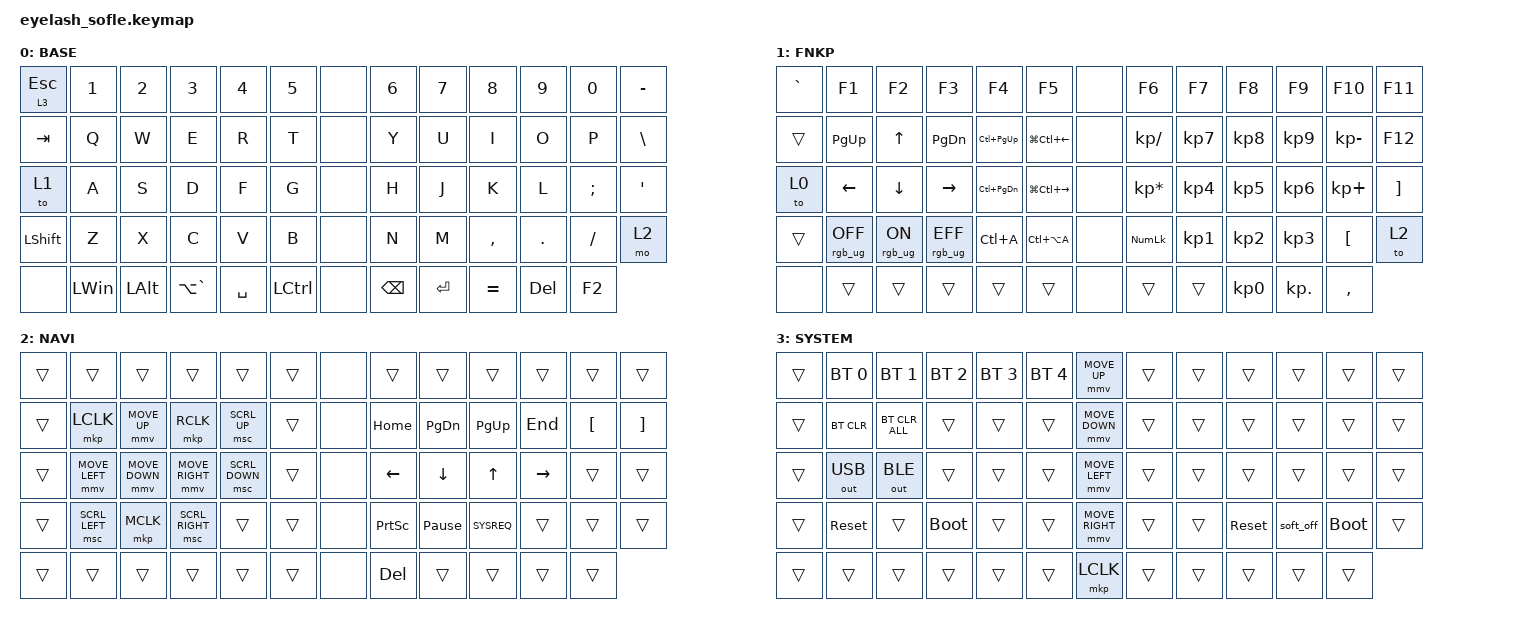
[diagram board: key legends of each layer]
#define ZMK_POINTING_DEFAULT_MOVE_VAL 1200  // 600
#define ZMK_POINTING_DEFAULT_SCRL_VAL 25   // 10

#include <input/processors.dtsi>
#include <zephyr/dt-bindings/input/input-event-codes.h>
#include <behaviors.dtsi>
#include <dt-bindings/zmk/bt.h>
#include <dt-bindings/zmk/keys.h>
#include <dt-bindings/zmk/outputs.h>
#include <dt-bindings/zmk/pointing.h>
#include <dt-bindings/zmk/rgb.h>

&mmv_input_listener { input-processors = <&zip_xy_scaler 2 1>; };

&msc_input_listener { input-processors = <&zip_scroll_scaler 2 1>; };

&msc {
    acceleration-exponent = <1>;      // 0
    time-to-max-speed-ms = <100>;       // 300
    delay-ms = <0>;                   // 0
};

&mmv {
    time-to-max-speed-ms = <500>;
    acceleration-exponent = <1>;
    trigger-period-ms = <16>;
};

/ {
    scroll_encoder: scroll_encoder {
        compatible = "zmk,behavior-sensor-rotate";
        #sensor-binding-cells = <0>;
        bindings = <&msc SCRL_DOWN>, <&msc SCRL_UP>;

        tap-ms = <100>;
    };

    behaviors {
    };

    keymap {
        compatible = "zmk,keymap";

        Layer_0 {
            bindings = <
&lt 3 ESCAPE  &kp N1        &kp N2        &kp N3         &kp N4     &kp N5       &none  &kp N6         &kp N7     &kp N8     &kp N9      &kp N0    &kp MINUS
&kp TAB       &kp Q         &kp W         &kp E          &kp R      &kp T        &none  &kp Y          &kp U      &kp I      &kp O       &kp P     &kp BSLH
&to 1         &kp A         &kp S         &kp D          &kp F      &kp G        &none  &kp H          &kp J      &kp K      &kp L       &kp SEMI  &kp APOS
&kp LSHFT     &kp Z         &kp X         &kp C          &kp V      &kp B        &none  &kp N          &kp M      &kp COMMA  &kp DOT     &kp FSLH  &mo 2
&none         &kp LEFT_WIN  &kp LEFT_ALT  &kp LA(GRAVE)  &kp SPACE  &kp LCTRL    &none  &kp BACKSPACE  &kp ENTER  &kp EQUAL  &kp DELETE  &kp F2
            >;

            display-name = "BASE";
        };

        Layer_1 {
            bindings = <
&kp GRAVE  &kp F1           &kp F2          &kp F3           &kp F4             &kp F5               &none  &kp F6           &kp F7           &kp F8           &kp F9      &kp F10           &kp F11
&trans     &kp PG_UP        &kp UP_ARROW    &kp PAGE_DOWN    &kp LC(PG_UP)      &kp LG(LC(LEFT))     &none  &kp KP_DIVIDE    &kp KP_N7        &kp KP_N8        &kp KP_N9   &kp KP_MINUS      &kp F12
&to 0      &kp LEFT         &kp DOWN_ARROW  &kp RIGHT        &kp LC(PAGE_DOWN)  &kp LG(LC(RIGHT))    &none  &kp KP_MULTIPLY  &kp KP_N4        &kp KP_N5        &kp KP_N6   &kp KP_PLUS       &kp RIGHT_BRACKET
&trans     &rgb_ug RGB_OFF  &rgb_ug RGB_ON  &rgb_ug RGB_EFF  &kp LC(A)          &kp LC(LA(A))        &none  &kp KP_NUMLOCK   &kp KP_NUMBER_1  &kp KP_NUMBER_2  &kp KP_N3   &kp LEFT_BRACKET  &to 2
&none      &trans           &trans          &trans           &trans             &trans               &none  &trans           &trans           &kp KP_N0        &kp KP_DOT  &kp COMMA
            >;

            display-name = "FNKP";
        };

        Layer_2 {
            bindings = <
&trans  &trans          &trans          &trans           &trans          &trans    &none  &trans           &trans           &trans        &trans     &trans            &trans
&trans  &mkp LCLK       &mmv MOVE_UP    &mkp RCLK        &msc SCRL_UP    &trans    &none  &kp HOME         &kp PG_DN        &kp PG_UP     &kp END    &kp LEFT_BRACKET  &kp RIGHT_BRACKET
&trans  &mmv MOVE_LEFT  &mmv MOVE_DOWN  &mmv MOVE_RIGHT  &msc SCRL_DOWN  &trans    &none  &kp LEFT         &kp DOWN         &kp UP_ARROW  &kp RIGHT  &trans            &trans
&trans  &msc SCRL_LEFT  &mkp MCLK       &msc SCRL_RIGHT  &trans          &trans    &none  &kp PRINTSCREEN  &kp PAUSE_BREAK  &kp SYSREQ    &trans     &trans            &trans
&trans  &trans          &trans          &trans           &trans          &trans    &none  &kp DEL          &trans           &trans        &trans     &trans
            >;

            label = "NAVI";
        };

        Layer_3 {
            bindings = <
&trans  &bt BT_SEL 0  &bt BT_SEL 1    &bt BT_SEL 2  &bt BT_SEL 3  &bt BT_SEL 4    &mmv MOVE_UP     &trans  &trans  &trans      &trans     &trans       &trans
&trans  &bt BT_CLR    &bt BT_CLR_ALL  &trans        &trans        &trans          &mmv MOVE_DOWN   &trans  &trans  &trans      &trans     &trans       &trans
&trans  &out OUT_USB  &out OUT_BLE    &trans        &trans        &trans          &mmv MOVE_LEFT   &trans  &trans  &trans      &trans     &trans       &trans
&trans  &sys_reset    &trans          &bootloader   &trans        &trans          &mmv MOVE_RIGHT  &trans  &trans  &sys_reset  &soft_off  &bootloader  &trans
&trans  &trans        &trans          &trans        &trans        &trans          &mkp LCLK        &trans  &trans  &trans      &trans     &trans
            >;

            label = "SYSTEM";
        };
    };
};
